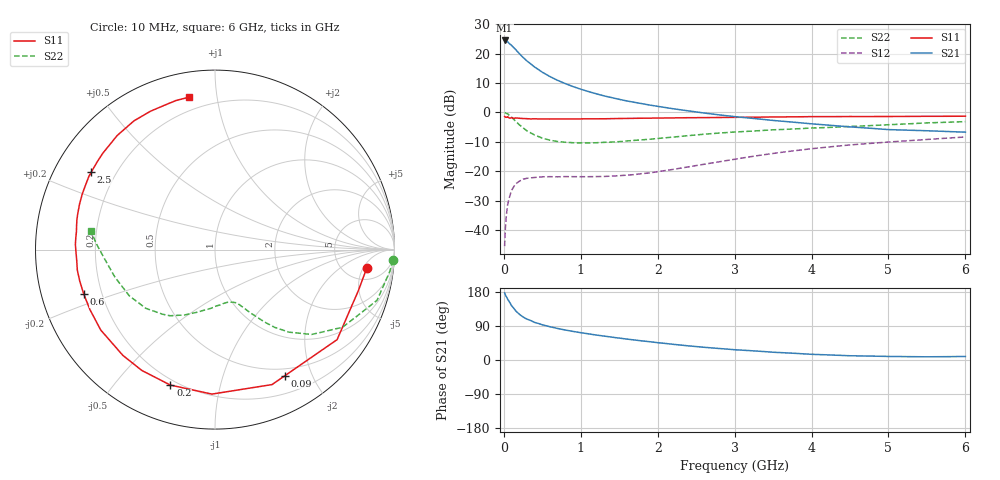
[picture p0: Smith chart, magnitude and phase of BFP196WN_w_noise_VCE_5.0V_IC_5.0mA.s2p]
! Infineon Technologies  Discrete & RF Semiconductors
! BFP196WN
! VCE =  5.0 V,  IC =  5.0 mA
! Common Emitter S-Parameters:  Jan 2017
# GHz  S  MA  R  50
!  f  S11  S21  S12  S22
! GHz  MAG  ANG  MAG  ANG  MAG  ANG  MAG  ANG
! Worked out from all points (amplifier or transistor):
!   77 points, 10 MHz to 6 GHz, reference 50 ohm
!   highest |S21| = 24.5 dB at 10 MHz (marker M1)
!   |S21| within 3 dB of that: start of sweep to 149.9 MHz
!   unconditionally stable (mu >= 1): 1.345 GHz to 2.628 GHz
!   at 130 MHz: K = 0.12, MSG = 23.6 dB, |S12| = -25.3 dB
!   at 2.2 GHz: K = 1.09, MAG = 8.5 dB, |S12| = -19.4 dB
!   at 6 GHz: K = 0.91, MSG = 0.8 dB, |S12| = -8.4 dB
!   lowest NFmin = 1.08 dB at 450 MHz
!   S11 on the Smith chart (normalised r, x): 10 MHz: 8, -6; 90 MHz: 0.41, -1.62; 200 MHz: 0.17, -0.71; 600 MHz: 0.13, -0.16; 2.5 GHz: 0.11, +0.28; 6 GHz: 0.13, +0.84
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0.01  0.8523 -6.8  16.75 177.1  0.0053 84.5  0.9926 -3.4
0.02  0.8308 -16.0  16.33 171.9  0.0107 84.4  0.9815 -7.1
0.05  0.8453 -36.4  15.86 160.2  0.0272 71.0  0.9461 -17.4
0.09  0.8031 -60.9  14.13 147.1  0.0429 58.6  0.8501 -28.3
0.1  0.8164 -67.1  13.83 143.4  0.047 56.8  0.8316 -31.4
0.15  0.8052 -91.2  11.85 130.6  0.0601 46.2  0.7163 -41.3
0.2  0.7948 -108.2  10.05 120.9  0.0672 38.9  0.6181 -48.1
0.25  0.7871 -121.2  8.622 113.5  0.0732 34.0  0.5459 -52.5
0.3  0.7816 -131.1  7.506 107.9  0.0757 29.9  0.4858 -55.8
0.4  0.7785 -144.9  5.905 99.2  0.0782 25.7  0.4114 -60.2
0.5  0.7729 -154.4  4.824 92.9  0.0802 23.5  0.3652 -63.5
0.6  0.7721 -161.4  4.068 87.7  0.0806 22.4  0.3364 -66.0
0.7  0.7738 -167.0  3.505 83.2  0.0802 22.5  0.3195 -68.1
0.8  0.7755 -171.6  3.089 79.1  0.0809 23.7  0.3106 -70.8
1.1  0.7784 177.9  2.261 69.0  0.0805 28.0  0.3022 -78.9
1.5  0.7869 167.9  1.668 57.8  0.0838 37.3  0.3182 -90.6
2.1  0.8033 155.5  1.21 43.7  0.1026 52.2  0.3696 -107.8
2.5  0.8132 148.0  1.018 35.5  0.1246 58.4  0.4135 -117.9
3.1  0.8252 137.5  0.824 25.9  0.1676 61.1  0.4709 -131.4
4.1  0.8471 120.8  0.624 14.3  0.2485 56.2  0.5474 -154.4
5.1  0.8529 108.4  0.505 9.2  0.3197 47.1  0.6251 -176.8
6  0.8617 99.5  0.461 9.3  0.3821 39.1  0.6969 171.6
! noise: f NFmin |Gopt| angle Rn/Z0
0.45  1.08  0.44  121  0.07
0.9  1.21  0.58  158  0.06
1.9  2.72  0.75  203  0.15
2.4  3.62  0.76  211  0.29
